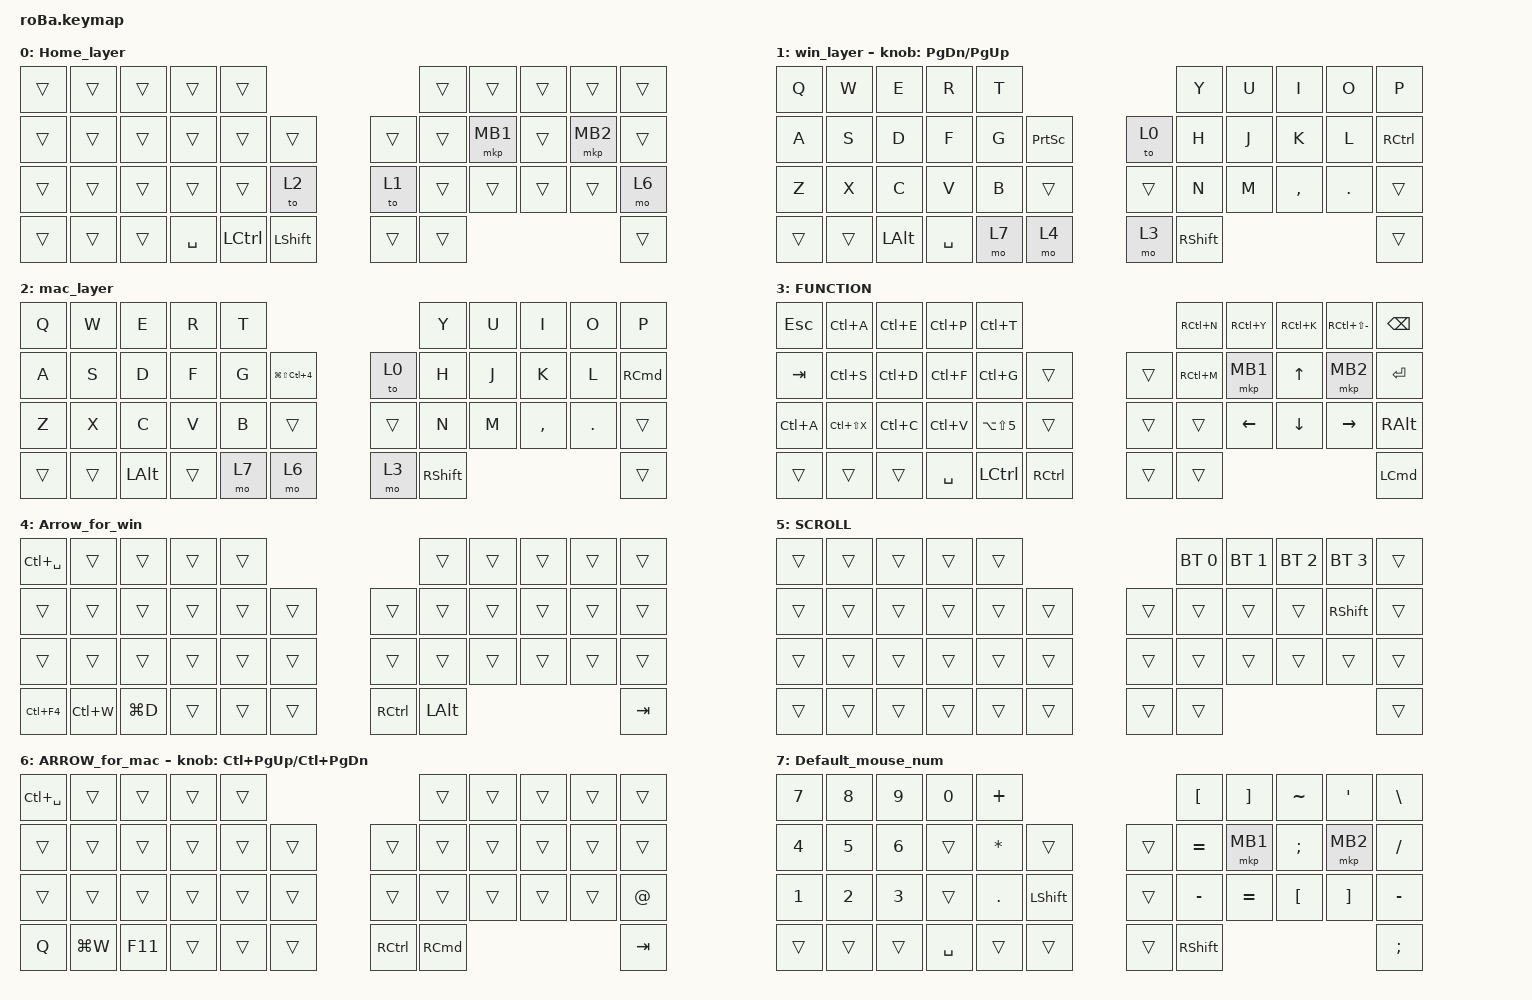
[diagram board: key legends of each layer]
#include <behaviors.dtsi>
#include <dt-bindings/zmk/bt.h>
#include <dt-bindings/zmk/keys.h>
#include <dt-bindings/zmk/pointing.h>

&mt {
    flavor = "balanced";
    quick-tap-ms = <0>;
};

&trackball {
    //    automouse-layer = <4>;
    scroll-layers = <5>;

    // arrows {
    //     layers = <3>;
    //     bindings =
    //         <&kp RIGHT_ARROW>,
    //         <&kp LEFT_ARROW>,
    //         <&kp UP_ARROW>,
    //         <&kp DOWN_ARROW>;
    //     tick = <10>;
    //     wait-ms = <5>;
    //     tap-ms = <5>;
    // };
};

/ {
    combos {
        compatible = "zmk,combos";

        tab {
            bindings = <&kp TAB>;
            key-positions = <11 12>;
        };

        shift_tab {
            bindings = <&kp LS(TAB)>;
            key-positions = <12 13>;
        };

        muhennkann {
            bindings = <&to_layer_0 INT_MUHENKAN>;
            key-positions = <11 10>;
        };

        double_quotation {
            bindings = <&kp DOUBLE_QUOTES>;
            key-positions = <20 21>;
        };

        eq {
            bindings = <&kp EQUAL>;
            key-positions = <24 25>;
        };
    };

    macros {
        to_layer_0: to_layer_0 {
            compatible = "zmk,behavior-macro-one-param";
            #binding-cells = <1>;
            bindings = <&to 4 &macro_param_1to1 &kp MACRO_PLACEHOLDER>;
            label = "TO_LAYER_0";
        };
    };

    behaviors {
        lt_to_layer_0: lt_to_layer_0 {
            compatible = "zmk,behavior-hold-tap";
            label = "LAYER_TAP_TO_0";
            bindings = <&mo>, <&to_layer_0>;

            #binding-cells = <2>;
            tapping-term-ms = <200>;
        };
    };

    keymap {
        compatible = "zmk,keymap";

        Home_layer {
            bindings = <
&trans  &trans  &trans  &trans     &trans                                 &trans  &trans    &trans  &trans    &trans
&trans  &trans  &trans  &trans     &trans     &trans              &trans  &trans  &mkp MB1  &trans  &mkp MB2  &trans
&trans  &trans  &trans  &trans     &trans     &to 2               &to 1   &trans  &trans    &trans  &trans    &mo 6
&trans  &trans  &trans  &kp SPACE  &kp LCTRL  &kp LEFT_SHIFT      &trans  &trans                              &trans
            >;
        };

        win_layer {
            bindings = <
&kp Q   &kp W   &kp E         &kp R      &kp T                               &kp Y            &kp U  &kp I      &kp O    &kp P
&kp A   &kp S   &kp D         &kp F      &kp G  &kp PRINTSCREEN      &to 0   &kp H            &kp J  &kp K      &kp L    &kp RCTRL
&kp Z   &kp X   &kp C         &kp V      &kp B  &trans               &trans  &kp N            &kp M  &kp COMMA  &kp DOT  &trans
&trans  &trans  &kp LEFT_ALT  &kp SPACE  &mo 7  &mo 4                &mo 3   &kp RIGHT_SHIFT                             &trans
            >;

            sensor-bindings = <&inc_dec_kp PAGE_DOWN PG_UP>;
        };

        mac_layer {
            bindings = <
&kp Q   &kp W   &kp E         &kp R   &kp T                                        &kp Y            &kp U  &kp I      &kp O       &kp P
&kp A   &kp S   &kp D         &kp F   &kp G  &kp LG(LS(LC(NUMBER_4)))      &to 0   &kp H            &kp J  &kp K      &kp L       &kp RIGHT_COMMAND
&kp Z   &kp X   &kp C         &kp V   &kp B  &trans                        &trans  &kp N            &kp M  &kp COMMA  &kp PERIOD  &trans
&trans  &trans  &kp LEFT_ALT  &trans  &mo 7  &mo 6                         &mo 3   &kp RIGHT_SHIFT                                &trans
            >;
        };

        FUNCTION {
            bindings = <
&kp ESC    &kp LC(A)      &kp LC(E)  &kp LC(P)  &kp LC(T)                              &kp RC(N)  &kp RC(Y)  &kp RC(K)       &kp RC(LS(MINUS))  &kp BACKSPACE
&kp TAB    &kp LC(S)      &kp LC(D)  &kp LC(F)  &kp LC(G)       &trans         &trans  &kp RC(M)  &mkp MB1   &kp UP_ARROW    &mkp MB2           &kp ENTER
&kp LC(A)  &kp LC(LS(X))  &kp LC(C)  &kp LC(V)  &kp LA(LS(N5))  &trans         &trans  &trans     &kp LEFT   &kp DOWN_ARROW  &kp RIGHT          &kp RIGHT_ALT
&trans     &trans         &trans     &kp SPACE  &kp LCTRL       &kp RCTRL      &trans  &trans                                                   &kp LEFT_COMMAND
            >;
        };

        Arrow_for_win {
            bindings = <
&kp LC(SPACE)  &trans     &trans     &trans  &trans                         &trans        &trans  &trans  &trans  &trans
&trans         &trans     &trans     &trans  &trans  &trans      &trans     &trans        &trans  &trans  &trans  &trans
&trans         &trans     &trans     &trans  &trans  &trans      &trans     &trans        &trans  &trans  &trans  &trans
&kp LC(F4)     &kp LC(W)  &kp LG(D)  &trans  &trans  &trans      &kp RCTRL  &kp LEFT_ALT                          &kp TAB
            >;
        };

        SCROLL {
            bindings = <
&trans  &trans  &trans  &trans  &trans                      &bt BT_SEL 0  &bt BT_SEL 1  &bt BT_SEL 2  &bt BT_SEL 3     &trans
&trans  &trans  &trans  &trans  &trans  &trans      &trans  &trans        &trans        &trans        &kp RIGHT_SHIFT  &trans
&trans  &trans  &trans  &trans  &trans  &trans      &trans  &trans        &trans        &trans        &trans           &trans
&trans  &trans  &trans  &trans  &trans  &trans      &trans  &trans                                                     &trans
            >;
        };

        ARROW_for_mac {
            bindings = <
&kp LC(SPACE)  &trans     &trans   &trans  &trans                         &trans             &trans  &trans  &trans  &trans
&trans         &trans     &trans   &trans  &trans  &trans      &trans     &trans             &trans  &trans  &trans  &trans
&trans         &trans     &trans   &trans  &trans  &trans      &trans     &trans             &trans  &trans  &trans  &kp AT_SIGN
&kp Q          &kp LG(W)  &kp F11  &trans  &trans  &trans      &kp RCTRL  &kp RIGHT_COMMAND                          &kp TAB
            >;

            sensor-bindings = <&inc_dec_kp LC(PAGE_UP) LC(PAGE_DOWN)>;
        };

        Default_mouse_num {
            bindings = <
&kp N7        &kp N8        &kp N9        &kp N0     &kp PLUS                                  &kp LEFT_BRACKET  &kp RIGHT_BRACKET  &kp TILDE         &kp SQT            &kp BACKSLASH
&kp NUMBER_4  &kp N5        &kp NUMBER_6  &trans     &kp ASTERISK  &trans              &trans  &kp EQUAL         &mkp MB1           &kp SEMICOLON     &mkp MB2           &kp SLASH
&kp NUMBER_1  &kp NUMBER_2  &kp NUMBER_3  &trans     &kp PERIOD    &kp LEFT_SHIFT      &trans  &kp MINUS         &kp EQUAL          &kp LEFT_BRACKET  &kp RIGHT_BRACKET  &kp MINUS
&trans        &trans        &trans        &kp SPACE  &trans        &trans              &trans  &kp RIGHT_SHIFT                                                           &kp SEMICOLON
            >;
        };
    };
};
